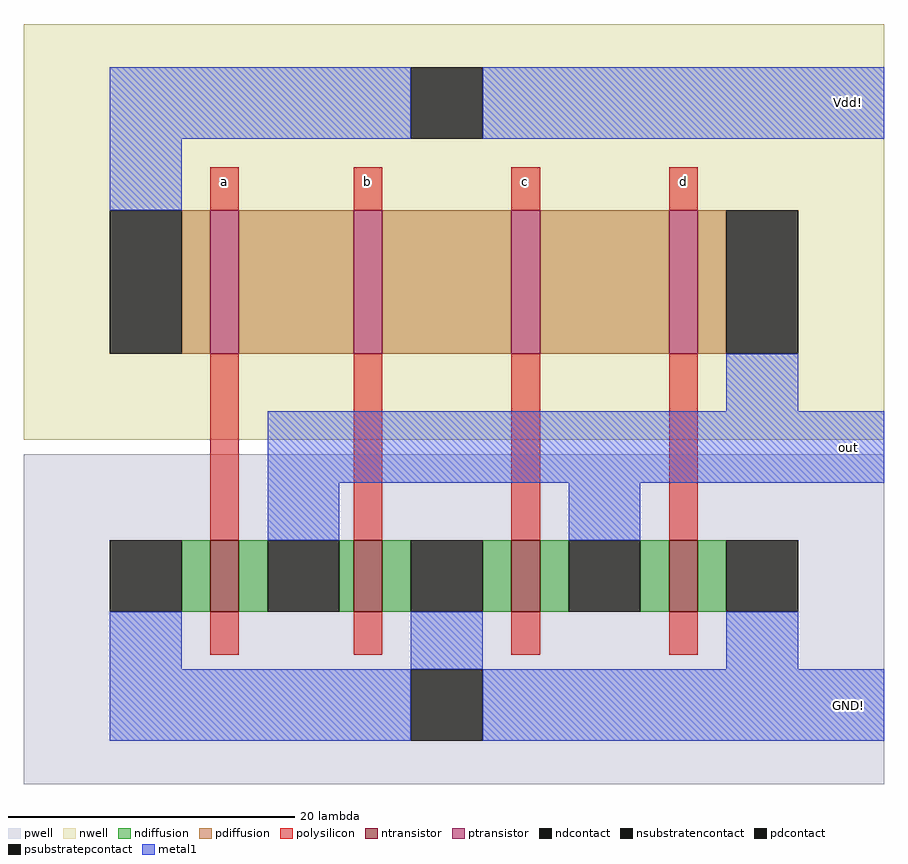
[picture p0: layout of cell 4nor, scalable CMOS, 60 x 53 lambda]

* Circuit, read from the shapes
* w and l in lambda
.subckt 4nor GND! Vdd! a b c d out
M1 out a GND! GND! nfet w=5 l=2
M2 GND! b out GND! nfet w=5 l=2
M3 out c GND! GND! nfet w=5 l=2
M4 GND! d out GND! nfet w=5 l=2
M5 n1 a Vdd! Vdd! pfet w=10 l=2
M6 n2 b n1 Vdd! pfet w=10 l=2
M7 n3 c n2 Vdd! pfet w=10 l=2
M8 out d n3 Vdd! pfet w=10 l=2
.ends

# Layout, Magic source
magic
tech scmos
<< nwell >>
rect 72 18 132 47
<< pwell >>
rect 72 -6 132 17
<< ntransistor >>
rect 85 6 87 11
rect 95 6 97 11
rect 106 6 108 11
rect 117 6 119 11
<< ptransistor >>
rect 85 24 87 34
rect 95 24 97 34
rect 106 24 108 34
rect 117 24 119 34
<< ndiffusion >>
rect 83 6 85 11
rect 87 6 89 11
rect 94 6 95 11
rect 97 6 99 11
rect 104 6 106 11
rect 108 6 110 11
rect 115 6 117 11
rect 119 6 121 11
<< pdiffusion >>
rect 83 24 85 34
rect 87 24 95 34
rect 97 24 106 34
rect 108 24 117 34
rect 119 24 121 34
<< ndcontact >>
rect 78 6 83 11
rect 89 6 94 11
rect 99 6 104 11
rect 110 6 115 11
rect 121 6 126 11
<< pdcontact >>
rect 78 24 83 34
rect 121 24 126 34
<< psubstratepcontact >>
rect 99 -3 104 2
<< nsubstratencontact >>
rect 99 39 104 44
<< polysilicon >>
rect 85 34 87 37
rect 95 34 97 37
rect 106 34 108 37
rect 117 34 119 37
rect 85 11 87 24
rect 95 11 97 24
rect 106 11 108 24
rect 117 11 119 24
rect 85 3 87 6
rect 95 3 97 6
rect 106 3 108 6
rect 117 3 119 6
<< metal1 >>
rect 78 39 99 44
rect 104 39 132 44
rect 78 34 83 39
rect 121 20 126 24
rect 89 15 132 20
rect 89 11 94 15
rect 110 11 115 15
rect 78 2 83 6
rect 99 2 104 6
rect 121 2 126 6
rect 78 -3 99 2
rect 104 -3 132 2
<< labels >>
rlabel polysilicon 85 35 87 37 1 a
rlabel polysilicon 95 35 97 37 1 b
rlabel polysilicon 106 35 108 37 1 c
rlabel polysilicon 117 35 119 37 1 d
rlabel metal1 127 39 132 44 7 Vdd!
rlabel metal1 127 15 132 20 7 out
rlabel metal1 127 -3 132 2 7 GND!
<< end >>
